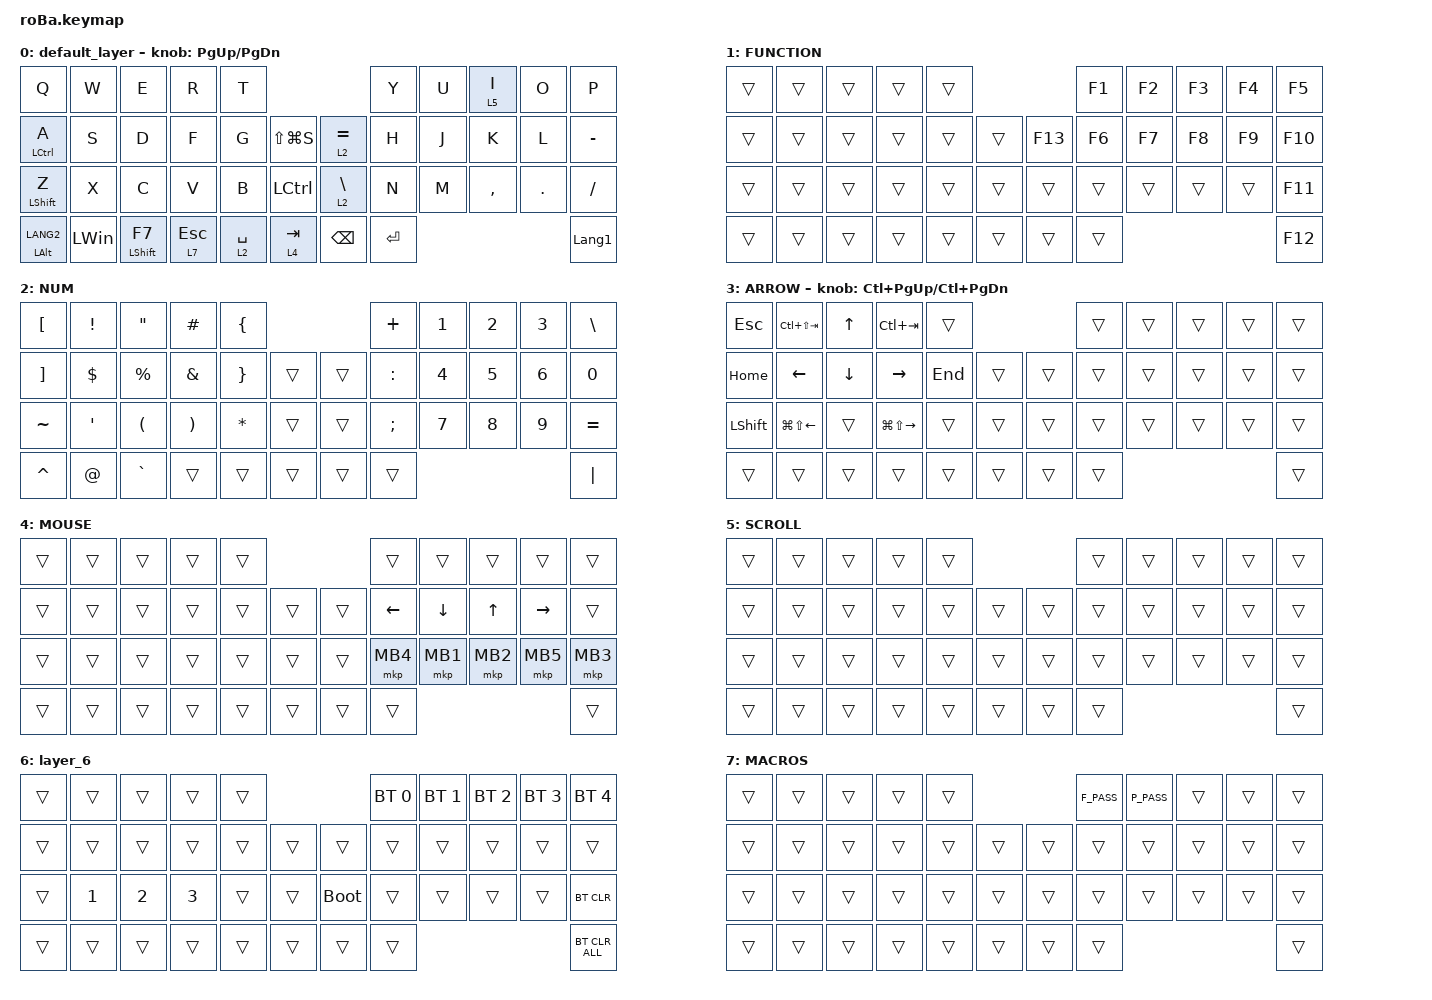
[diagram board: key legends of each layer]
#include <behaviors.dtsi>
#include <dt-bindings/zmk/bt.h>
#include <dt-bindings/zmk/keys.h>
#include <dt-bindings/zmk/pointing.h>

&trackball {
    // automouse-layer = <4>;

    scroll-layers = <5>;

    // arrows {
    //     layers = <3>;
    //     bindings =
    //         <&kp RIGHT_ARROW>,
    //         <&kp LEFT_ARROW>,
    //         <&kp UP_ARROW>,
    //         <&kp DOWN_ARROW>;
    //     tick = <10>;
    //     wait-ms = <5>;
    //     tap-ms = <5>;
    // };
};

/ {
    combos { compatible = "zmk,combos"; };

    macros {
        F_PASS: F_PASS {
            compatible = "zmk,behavior-macro";
            #binding-cells = <0>;
            bindings = <&kp LS(K) &kp U &kp G &kp E &kp T &kp U &kp N0 &kp N8 &kp N2 &kp N2 &kp N3 &kp ENTER>;
            label = "F_PASS";
        };

        P_PASS: P_PASS {
            compatible = "zmk,behavior-macro";
            #binding-cells = <0>;
            bindings = <&kp LS(K) &kp U &kp G &kp E &kp T &kp U &kp N0 &kp N8 &kp N2 &kp N2 &kp EXCL &kp ENTER>;
            label = "P_PASS";
        };
    };

    keymap {
        compatible = "zmk,keymap";

        default_layer {
            bindings = <
&kp Q             &kp W         &kp E              &kp R         &kp T                                               &kp Y      &kp U  &lt 5 I    &kp O    &kp P
&mt LCTRL A       &kp S         &kp D              &kp F         &kp G        &kp LS(LG(S))         &lt 2 EQUAL      &kp H      &kp J  &kp K      &kp L    &kp MINUS
&mt LEFT_SHIFT Z  &kp X         &kp C              &kp V         &kp B        &kp LEFT_CONTROL      &lt 2 BACKSLASH  &kp N      &kp M  &kp COMMA  &kp DOT  &kp SLASH
&mt LALT LANG2    &kp LEFT_WIN  &mt LEFT_SHIFT F7  &lt 7 ESCAPE  &lt 2 SPACE  &lt 4 TAB             &kp BACKSPACE    &kp ENTER                             &kp LANGUAGE_1
            >;

            sensor-bindings = <&inc_dec_kp PG_UP PAGE_DOWN>;
        };

        FUNCTION {
            bindings = <
&trans  &trans  &trans  &trans  &trans                       &kp F1  &kp F2  &kp F3  &kp F4  &kp F5
&trans  &trans  &trans  &trans  &trans  &trans      &kp F13  &kp F6  &kp F7  &kp F8  &kp F9  &kp F10
&trans  &trans  &trans  &trans  &trans  &trans      &trans   &trans  &trans  &trans  &trans  &kp F11
&trans  &trans  &trans  &trans  &trans  &trans      &trans   &trans                          &kp F12
            >;
        };

        NUM {
            bindings = <
&kp LEFT_BRACKET   &kp EXCLAMATION   &kp DOUBLE_QUOTES     &kp HASH               &kp LEFT_BRACE                       &kp PLUS       &kp NUMBER_1  &kp NUMBER_2  &kp NUMBER_3  &kp BACKSLASH
&kp RIGHT_BRACKET  &kp DOLLAR        &kp PERCENT           &kp AMPERSAND          &kp RIGHT_BRACE  &trans      &trans  &kp COLON      &kp NUMBER_4  &kp NUMBER_5  &kp NUMBER_6  &kp NUMBER_0
&kp TILDE          &kp SINGLE_QUOTE  &kp LEFT_PARENTHESIS  &kp RIGHT_PARENTHESIS  &kp ASTERISK     &trans      &trans  &kp SEMICOLON  &kp NUMBER_7  &kp NUMBER_8  &kp NUMBER_9  &kp EQUAL
&kp CARET          &kp AT_SIGN       &kp GRAVE             &trans                 &trans           &trans      &trans  &trans                                                   &kp PIPE
            >;
        };

        ARROW {
            bindings = <
&kp ESCAPE      &kp LC(LS(TAB))         &kp UP_ARROW    &kp LC(TAB)              &trans                       &trans  &trans  &trans  &trans  &trans
&kp HOME        &kp LEFT_ARROW          &kp DOWN_ARROW  &kp RIGHT_ARROW          &kp END  &trans      &trans  &trans  &trans  &trans  &trans  &trans
&kp LEFT_SHIFT  &kp LG(LS(LEFT_ARROW))  &trans          &kp LG(LS(RIGHT_ARROW))  &trans   &trans      &trans  &trans  &trans  &trans  &trans  &trans
&trans          &trans                  &trans          &trans                   &trans   &trans      &trans  &trans                          &trans
            >;

            sensor-bindings = <&inc_dec_kp LC(PAGE_UP) LC(PAGE_DOWN)>;
        };

        MOUSE {
            bindings = <
&trans  &trans  &trans  &trans  &trans                      &trans          &trans          &trans        &trans           &trans
&trans  &trans  &trans  &trans  &trans  &trans      &trans  &kp LEFT_ARROW  &kp DOWN_ARROW  &kp UP_ARROW  &kp RIGHT_ARROW  &trans
&trans  &trans  &trans  &trans  &trans  &trans      &trans  &mkp MB4        &mkp MB1        &mkp MB2      &mkp MB5         &mkp MB3
&trans  &trans  &trans  &trans  &trans  &trans      &trans  &trans                                                         &trans
            >;
        };

        SCROLL {
            bindings = <
&trans  &trans  &trans  &trans  &trans                      &trans  &trans  &trans  &trans  &trans
&trans  &trans  &trans  &trans  &trans  &trans      &trans  &trans  &trans  &trans  &trans  &trans
&trans  &trans  &trans  &trans  &trans  &trans      &trans  &trans  &trans  &trans  &trans  &trans
&trans  &trans  &trans  &trans  &trans  &trans      &trans  &trans                          &trans
            >;
        };

        layer_6 {
            bindings = <
&trans  &trans        &trans        &trans        &trans                           &bt BT_SEL 0  &bt BT_SEL 1  &bt BT_SEL 2  &bt BT_SEL 3  &bt BT_SEL 4
&trans  &trans        &trans        &trans        &trans  &trans      &trans       &trans        &trans        &trans        &trans        &trans
&trans  &kp NUMBER_1  &kp NUMBER_2  &kp NUMBER_3  &trans  &trans      &bootloader  &trans        &trans        &trans        &trans        &bt BT_CLR
&trans  &trans        &trans        &trans        &trans  &trans      &trans       &trans                                                  &bt BT_CLR_ALL
            >;
        };

        MACROS {
            bindings = <
&trans  &trans  &trans  &trans  &trans                      &F_PASS  &P_PASS  &trans  &trans  &trans
&trans  &trans  &trans  &trans  &trans  &trans      &trans  &trans   &trans   &trans  &trans  &trans
&trans  &trans  &trans  &trans  &trans  &trans      &trans  &trans   &trans   &trans  &trans  &trans
&trans  &trans  &trans  &trans  &trans  &trans      &trans  &trans                            &trans
            >;
        };
    };
};
